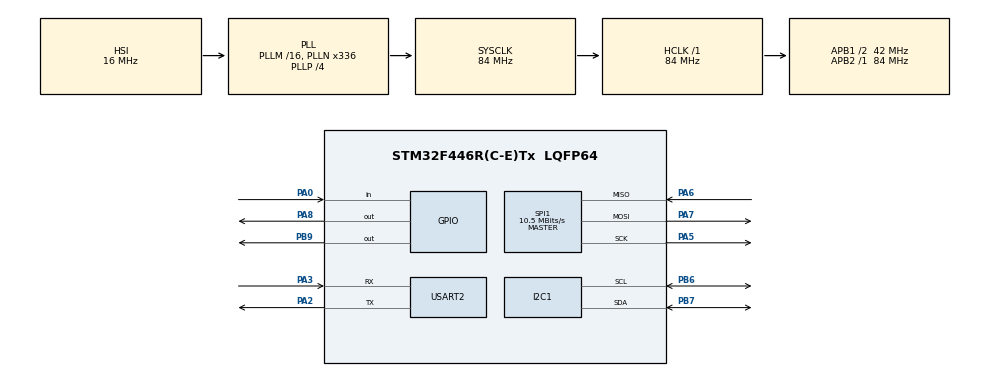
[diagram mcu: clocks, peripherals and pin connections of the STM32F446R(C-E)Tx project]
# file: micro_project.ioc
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Mcu.Family=STM32F4
Mcu.Name=STM32F446R(C-E)Tx
Mcu.Package=LQFP64
NVIC.PriorityGroup=NVIC_PRIORITYGROUP_0
PA0-WKUP.Signal=GPIO_Input
PA13.Mode=Serial_Wire
PA13.Signal=SYS_JTMS-SWDIO
PA14.Mode=Serial_Wire
PA14.Signal=SYS_JTCK-SWCLK
PA2.Mode=Asynchronous
PA2.Signal=USART2_TX
PA3.Mode=Asynchronous
PA3.Signal=USART2_RX
PA5.Mode=Full_Duplex_Master
PA5.Signal=SPI1_SCK
PA6.Mode=Full_Duplex_Master
PA6.Signal=SPI1_MISO
PA7.Mode=Full_Duplex_Master
PA7.Signal=SPI1_MOSI
PA8.Signal=GPIO_Output
PB6.Mode=I2C
PB6.Signal=I2C1_SCL
PB7.Mode=I2C
PB7.Signal=I2C1_SDA
PB9.Signal=GPIO_Output
PH0-OSC_IN.Mode=HSE-External-Oscillator
PH0-OSC_IN.Signal=RCC_OSC_IN
PH1-OSC_OUT.Mode=HSE-External-Oscillator
PH1-OSC_OUT.Signal=RCC_OSC_OUT
ProjectManager.HeapSize=0x200
ProjectManager.StackSize=0x400
ProjectManager.TargetToolchain=STM32CubeIDE
RCC.48MHZClocksFreq_Value=84000000
RCC.AHBFreq_Value=84000000
RCC.APB1CLKDivider=RCC_HCLK_DIV2
RCC.APB1Freq_Value=42000000
RCC.APB1TimFreq_Value=84000000
RCC.APB2Freq_Value=84000000
RCC.APB2TimFreq_Value=84000000
RCC.CortexFreq_Value=84000000
RCC.FLatency-AdvancedSettings=FLASH_LATENCY_2
RCC.HCLKFreq_Value=84000000
RCC.HSE_VALUE=8000000
RCC.HSI_VALUE=16000000
RCC.PLLN=336
RCC.PLLP=RCC_PLLP_DIV4
RCC.SYSCLKFreq_VALUE=84000000
RCC.SYSCLKSource=RCC_SYSCLKSOURCE_PLLCLK
RCC.USBFreq_Value=168000000
RCC.VCOOutputFreq_Value=336000000
SPI1.BaudRatePrescaler=SPI_BAUDRATEPRESCALER_8
SPI1.CalculateBaudRate=10.5 MBits/s
SPI1.Direction=SPI_DIRECTION_2LINES
SPI1.Mode=SPI_MODE_MASTER
SPI1.VirtualType=VM_MASTER
USART2.VirtualMode=VM_ASYNC
board=NUCLEO-F446RE

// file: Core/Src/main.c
/* USER CODE BEGIN Header */
/**
  ******************************************************************************
  * @file           : main.c
  * @brief          : Main program body
  ******************************************************************************
  * @attention
  *
  * Copyright (c) 2025 STMicroelectronics.
  * All rights reserved.
  *
  * This software is licensed under terms that can be found in the LICENSE file
  * in the root directory of this software component.
  * If no LICENSE file comes with this software, it is provided AS-IS.
  *
  ******************************************************************************
  */
/* USER CODE END Header */
#include "main.h"

/* USER CODE BEGIN Includes */
#include "RC522.h"
#include "string.h"
#include "liquidcrystal_i2c.h"
#include "ds1307.h"
#include <stdio.h>
/* USER CODE END Includes */

/* USER CODE BEGIN PTD */
typedef struct {
    char name[16];
    struct {
        uint8_t hours;
        uint8_t minutes;
        uint8_t seconds;
        uint8_t date;
        uint8_t month;
    } time;
} FlashEntry;
/* USER CODE END PTD */

/* USER CODE BEGIN PD */
#define BTN_NEXT_PIN GPIO_PIN_0
#define BTN_NEXT_PORT GPIOA
#define FLASH_USER_START_ADDR   ((uint32_t)0x0807F800)  // example for STM32F446RE, last 2KB page
#define FLASH_USER_END_ADDR     ((uint32_t)0x08080000)
#define ENTRY_SIZE              sizeof(FlashEntry)
//#define MAX_ENTRIES             ((FLASH_USER_END_ADDR - FLASH_USER_START_ADDR) / ENTRY_SIZE)
#define MAX_ENTRIES 100
#define NAME_LENGTH 16
/* USER CODE END PD */

I2C_HandleTypeDef hi2c1;

SPI_HandleTypeDef hspi1;

UART_HandleTypeDef huart2;

/* USER CODE BEGIN PV */
uint8_t status;
uint8_t str[16];
uint8_t sNum[5];
uint16_t currentIndex = 0;
FlashEntry flashEntries[MAX_ENTRIES];
uint8_t entryCount = 0;
/* USER CODE END PV */

void SystemClock_Config(void);
static void MX_GPIO_Init(void);
static void MX_USART2_UART_Init(void);
static void MX_I2C1_Init(void);
static void MX_SPI1_Init(void);
/* USER CODE BEGIN PFP */
void SaveLog(const char* name, RTC_Time* rtc_time) {
    if (entryCount < MAX_ENTRIES) {
        // Copy the name (ensure it's null-terminated)
        strncpy(flashEntries[entryCount].name, name, NAME_LENGTH - 1);
        flashEntries[entryCount].name[NAME_LENGTH - 1] = '\0';

        // Save time fields
        flashEntries[entryCount].time.hours = rtc_time->hours;
        flashEntries[entryCount].time.minutes = rtc_time->minutes;
        flashEntries[entryCount].time.seconds = rtc_time->seconds;
        flashEntries[entryCount].time.date = rtc_time->date;
        flashEntries[entryCount].time.month = rtc_time->month;

        entryCount++;
    }
}

void ShowEntry(void)
{
	HD44780_Clear();
	HD44780_SetCursor(0,0);
	HD44780_PrintStr("Showing entries");
	HAL_Delay(2000);
    if (entryCount == 0) {
        HD44780_Clear();
        HD44780_PrintStr("No entries yet");
        HAL_Delay(2000);
        return;
    }

    uint8_t index = 0;

    while (1) {
        // Show entry
        HD44780_Clear();
        HD44780_SetCursor(0, 0);
        HD44780_PrintStr(flashEntries[index].name);

        HD44780_SetCursor(0, 1);
        char timeBuf[17];
        snprintf(timeBuf, sizeof(timeBuf), "%02d:%02d:%02d %02d/%02d",
                 flashEntries[index].time.hours,
                 flashEntries[index].time.minutes,
                 flashEntries[index].time.seconds,
                 flashEntries[index].time.date,
                 flashEntries[index].time.month);
        HD44780_PrintStr(timeBuf);

        // Wait for button press
        uint32_t timeout = HAL_GetTick() + 5000; // 5 seconds timeout
        while (HAL_GetTick() < timeout) {
            if (HAL_GPIO_ReadPin(GPIOA, GPIO_PIN_0) == GPIO_PIN_SET) { // Next
                HAL_Delay(200);  // Debounce
                index = (index + 1) % entryCount;
                break;
            }

            if (HAL_GPIO_ReadPin(GPIOA, GPIO_PIN_1) == GPIO_PIN_SET) { // Back
                HAL_Delay(200);  // Debounce
                if (index == 0) {
                    index = entryCount - 1;
                } else {
                    index--;
                }
                break;
            }
        }

        // Exit loop if no buttons pressed for 10 seconds
        if (HAL_GetTick() >= timeout) {
            HD44780_Clear();
            HD44780_PrintStr("Exiting...");
            HAL_Delay(1000);
            break;
        }
    }
}
/* USER CODE END PFP */

int main(void)
{

  /* MCU Configuration--------------------------------------------------------*/

  /* Reset of all peripherals, Initializes the Flash interface and the Systick. */
  HAL_Init();

  /* Configure the system clock */
  SystemClock_Config();

  /* Initialize all configured peripherals */
  MX_GPIO_Init();
  MX_USART2_UART_Init();
  MX_I2C1_Init();
  MX_SPI1_Init();
  /* USER CODE BEGIN 2 */
  MFRC522_Init();
  HD44780_Init(2);

  RTC_Time rtc_time;
  char timeStr[17];

  if (!DS1307_Init(&hi2c1)) {
      HD44780_Clear();
      HD44780_PrintStr("RTC Not Found");
      HAL_Delay(2000);
  }
  /* USER CODE END 2 */

  /* Infinite loop */
  while (1)
  {

    /* USER CODE BEGIN 3 */
	  //Scan for the card ID
	  status = MFRC522_Request(PICC_REQIDL, str);
	  status = MFRC522_Anticoll(str);
	  memcpy(sNum, str, 5);
	  HAL_Delay(200);

	  if (DS1307_GetTime(&hi2c1, &rtc_time)) {
	      snprintf(timeStr, sizeof(timeStr), "%02d:%02d", rtc_time.hours, rtc_time.minutes);
	      HD44780_Clear();
	      HD44780_SetCursor(11, 0);
	      HD44780_PrintStr(timeStr);
	      HD44780_SetCursor(0, 1);
	      HD44780_PrintStr("Please show card");
	  }
	  if ((str[0] == 147) && (str[1] == 32) && (str[2] == 93) && (str[3] == 89) && (str[4] == 93)) {
		  ShowEntry();
		  HAL_Delay(10000);
		  memset(str, 0, sizeof(str));
	  }
	  if ((str[0] == 147) && (str[1] == 32) && (str[2] == 17) && (str[3] == 16) && (str[4] == 43)) {
		  HD44780_Clear();
		  HD44780_SetCursor(0,0);
		  HD44780_PrintStr("Welcome");
		  HD44780_SetCursor(0,1);
		  HD44780_PrintStr("Fazli Kemal");
		  SaveLog("Fazli Kemal", &rtc_time);
		  HAL_Delay(2000);
		  memset(str, 0, sizeof(str));
	  }
	  if ((str[0] == 147) && (str[1] == 32) && (str[2] == 143) && (str[3] == 204) && (str[4] == 61)) {
		  HD44780_Clear();
		  HD44780_SetCursor(0,0);
		  HD44780_PrintStr("Welcome");
		  HD44780_SetCursor(0,1);
		  HD44780_PrintStr("Mevlut Akhan");
		  SaveLog("Mevlut Akhan", &rtc_time);
		  HAL_Delay(2000);
		  memset(str, 0, sizeof(str));
	  }
	  if ((str[0] == 147) && (str[1] == 32) && (str[2] == 106) && (str[3] == 204) && (str[4] == 4)) {
		  HD44780_Clear();
		  HD44780_SetCursor(0,0);
		  HD44780_PrintStr("Welcome");
		  HD44780_SetCursor(0,1);
		  HD44780_PrintStr("Seren Hazal");
		  SaveLog("Seren Hazal", &rtc_time);
		  HAL_Delay(2000);
		  memset(str, 0, sizeof(str));
	  }
  }
  /* USER CODE END 3 */
}

void SystemClock_Config(void)
{
  RCC_OscInitTypeDef RCC_OscInitStruct = {0};
  RCC_ClkInitTypeDef RCC_ClkInitStruct = {0};

  /** Configure the main internal regulator output voltage
  */
  __HAL_RCC_PWR_CLK_ENABLE();
  __HAL_PWR_VOLTAGESCALING_CONFIG(PWR_REGULATOR_VOLTAGE_SCALE3);

  /** Initializes the RCC Oscillators according to the specified parameters
  * in the RCC_OscInitTypeDef structure.
  */
  RCC_OscInitStruct.OscillatorType = RCC_OSCILLATORTYPE_HSI;
  RCC_OscInitStruct.HSIState = RCC_HSI_ON;
  RCC_OscInitStruct.HSICalibrationValue = RCC_HSICALIBRATION_DEFAULT;
  RCC_OscInitStruct.PLL.PLLState = RCC_PLL_ON;
  RCC_OscInitStruct.PLL.PLLSource = RCC_PLLSOURCE_HSI;
  RCC_OscInitStruct.PLL.PLLM = 16;
  RCC_OscInitStruct.PLL.PLLN = 336;
  RCC_OscInitStruct.PLL.PLLP = RCC_PLLP_DIV4;
  RCC_OscInitStruct.PLL.PLLQ = 2;
  RCC_OscInitStruct.PLL.PLLR = 2;
  if (HAL_RCC_OscConfig(&RCC_OscInitStruct) != HAL_OK)
  {
    Error_Handler();
  }

  /** Initializes the CPU, AHB and APB buses clocks
  */
  RCC_ClkInitStruct.ClockType = RCC_CLOCKTYPE_HCLK|RCC_CLOCKTYPE_SYSCLK
                              |RCC_CLOCKTYPE_PCLK1|RCC_CLOCKTYPE_PCLK2;
  RCC_ClkInitStruct.SYSCLKSource = RCC_SYSCLKSOURCE_PLLCLK;
  RCC_ClkInitStruct.AHBCLKDivider = RCC_SYSCLK_DIV1;
  RCC_ClkInitStruct.APB1CLKDivider = RCC_HCLK_DIV2;
  RCC_ClkInitStruct.APB2CLKDivider = RCC_HCLK_DIV1;

  if (HAL_RCC_ClockConfig(&RCC_ClkInitStruct, FLASH_LATENCY_2) != HAL_OK)
  {
    Error_Handler();
  }
}

static void MX_I2C1_Init(void)
{

  hi2c1.Instance = I2C1;
  hi2c1.Init.ClockSpeed = 100000;
  hi2c1.Init.DutyCycle = I2C_DUTYCYCLE_2;
  hi2c1.Init.OwnAddress1 = 0;
  hi2c1.Init.AddressingMode = I2C_ADDRESSINGMODE_7BIT;
  hi2c1.Init.DualAddressMode = I2C_DUALADDRESS_DISABLE;
  hi2c1.Init.OwnAddress2 = 0;
  hi2c1.Init.GeneralCallMode = I2C_GENERALCALL_DISABLE;
  hi2c1.Init.NoStretchMode = I2C_NOSTRETCH_DISABLE;
  if (HAL_I2C_Init(&hi2c1) != HAL_OK)
  {
    Error_Handler();
  }

}

static void MX_SPI1_Init(void)
{

  /* SPI1 parameter configuration*/
  hspi1.Instance = SPI1;
  hspi1.Init.Mode = SPI_MODE_MASTER;
  hspi1.Init.Direction = SPI_DIRECTION_2LINES;
  hspi1.Init.DataSize = SPI_DATASIZE_8BIT;
  hspi1.Init.CLKPolarity = SPI_POLARITY_LOW;
  hspi1.Init.CLKPhase = SPI_PHASE_1EDGE;
  hspi1.Init.NSS = SPI_NSS_SOFT;
  hspi1.Init.BaudRatePrescaler = SPI_BAUDRATEPRESCALER_8;
  hspi1.Init.FirstBit = SPI_FIRSTBIT_MSB;
  hspi1.Init.TIMode = SPI_TIMODE_DISABLE;
  hspi1.Init.CRCCalculation = SPI_CRCCALCULATION_DISABLE;
  hspi1.Init.CRCPolynomial = 10;
  if (HAL_SPI_Init(&hspi1) != HAL_OK)
  {
    Error_Handler();
  }

}

static void MX_USART2_UART_Init(void)
{

  huart2.Instance = USART2;
  huart2.Init.BaudRate = 115200;
  huart2.Init.WordLength = UART_WORDLENGTH_8B;
  huart2.Init.StopBits = UART_STOPBITS_1;
  huart2.Init.Parity = UART_PARITY_NONE;
  huart2.Init.Mode = UART_MODE_TX_RX;
  huart2.Init.HwFlowCtl = UART_HWCONTROL_NONE;
  huart2.Init.OverSampling = UART_OVERSAMPLING_16;
  if (HAL_UART_Init(&huart2) != HAL_OK)
  {
    Error_Handler();
  }

}

static void MX_GPIO_Init(void)
{
  GPIO_InitTypeDef GPIO_InitStruct = {0};

  /* GPIO Ports Clock Enable */
  __HAL_RCC_GPIOH_CLK_ENABLE();
  __HAL_RCC_GPIOA_CLK_ENABLE();
  __HAL_RCC_GPIOB_CLK_ENABLE();

  /*Configure GPIO pin Output Level */
  HAL_GPIO_WritePin(GPIOA, GPIO_PIN_8, GPIO_PIN_RESET);

  /*Configure GPIO pin Output Level */
  HAL_GPIO_WritePin(GPIOB, GPIO_PIN_9, GPIO_PIN_RESET);

  /*Configure GPIO pin : PA0 */
  GPIO_InitStruct.Pin = GPIO_PIN_0;
  GPIO_InitStruct.Mode = GPIO_MODE_INPUT;
  GPIO_InitStruct.Pull = GPIO_NOPULL;
  HAL_GPIO_Init(GPIOA, &GPIO_InitStruct);

  /*Configure GPIO pin : PA8 */
  GPIO_InitStruct.Pin = GPIO_PIN_8;
  GPIO_InitStruct.Mode = GPIO_MODE_OUTPUT_PP;
  GPIO_InitStruct.Pull = GPIO_NOPULL;
  GPIO_InitStruct.Speed = GPIO_SPEED_FREQ_LOW;
  HAL_GPIO_Init(GPIOA, &GPIO_InitStruct);

  /*Configure GPIO pin : PB9 */
  GPIO_InitStruct.Pin = GPIO_PIN_9;
  GPIO_InitStruct.Mode = GPIO_MODE_OUTPUT_PP;
  GPIO_InitStruct.Pull = GPIO_NOPULL;
  GPIO_InitStruct.Speed = GPIO_SPEED_FREQ_LOW;
  HAL_GPIO_Init(GPIOB, &GPIO_InitStruct);

}

void Error_Handler(void)
{
  __disable_irq();
  while (1)
  {
  }
}
